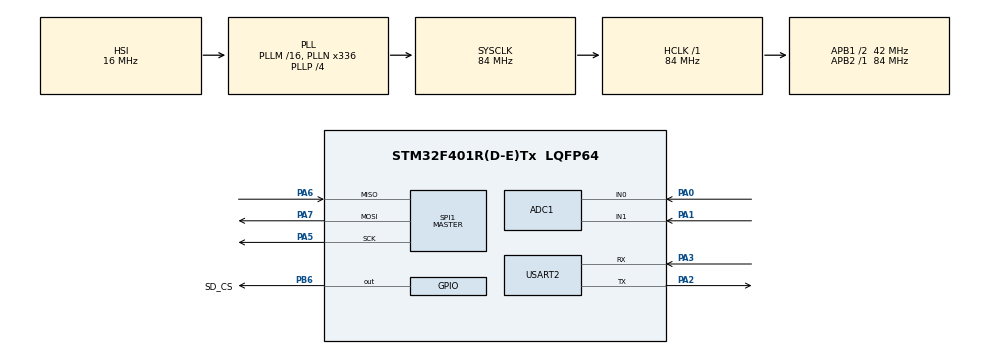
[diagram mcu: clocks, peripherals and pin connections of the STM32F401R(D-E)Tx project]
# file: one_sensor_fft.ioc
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ADC1.Channel-0\#ChannelRegularConversion=ADC_CHANNEL_0
ADC1.Channel-1\#ChannelRegularConversion=ADC_CHANNEL_1
ADC1.DMAContinuousRequests=ENABLE
ADC1.EOCSelection=ADC_EOC_SEQ_CONV
ADC1.ExternalTrigConv=ADC_EXTERNALTRIGCONV_T2_TRGO
ADC1.NbrOfConversion=2
ADC1.NbrOfConversionFlag=1
ADC1.Rank-0\#ChannelRegularConversion=1
ADC1.Rank-1\#ChannelRegularConversion=2
ADC1.SamplingTime-0\#ChannelRegularConversion=ADC_SAMPLETIME_28CYCLES
ADC1.SamplingTime-1\#ChannelRegularConversion=ADC_SAMPLETIME_28CYCLES
ADC1.master=1
Dma.ADC1.0.Direction=DMA_PERIPH_TO_MEMORY
Dma.ADC1.0.FIFOMode=DMA_FIFOMODE_DISABLE
Dma.ADC1.0.Instance=DMA2_Stream0
Dma.ADC1.0.MemDataAlignment=DMA_MDATAALIGN_WORD
Dma.ADC1.0.MemInc=DMA_MINC_ENABLE
Dma.ADC1.0.Mode=DMA_CIRCULAR
Dma.ADC1.0.PeriphDataAlignment=DMA_PDATAALIGN_WORD
Dma.ADC1.0.PeriphInc=DMA_PINC_DISABLE
Dma.ADC1.0.Priority=DMA_PRIORITY_LOW
Dma.Request0=ADC1
FATFS._FS_LOCK=4
FATFS._MAX_SS=4096
FATFS._USE_LFN=1
Mcu.Family=STM32F4
Mcu.Name=STM32F401R(D-E)Tx
Mcu.Package=LQFP64
NVIC.ADC_IRQn=true\:0\:0\:false\:false\:true\:true\:true\:true
NVIC.DMA2_Stream0_IRQn=true\:0\:0\:false\:false\:true\:false\:true\:true
NVIC.PriorityGroup=NVIC_PRIORITYGROUP_0
PA0-WKUP.Signal=ADCx_IN0
PA1.Signal=ADCx_IN1
PA13.Mode=Serial_Wire
PA13.Signal=SYS_JTMS-SWDIO
PA14.Mode=Serial_Wire
PA14.Signal=SYS_JTCK-SWCLK
PA2.Mode=Asynchronous
PA2.Signal=USART2_TX
PA3.Mode=Asynchronous
PA3.Signal=USART2_RX
PA5.Mode=Full_Duplex_Master
PA5.Signal=SPI1_SCK
PA6.Mode=Full_Duplex_Master
PA6.Signal=SPI1_MISO
PA7.Mode=Full_Duplex_Master
PA7.Signal=SPI1_MOSI
PB6.GPIO_Label=SD_CS
PB6.GPIO_Speed=GPIO_SPEED_FREQ_HIGH
PB6.PinState=GPIO_PIN_SET
PB6.Signal=GPIO_Output
PH0\ -\ OSC_IN.Mode=HSE-External-Oscillator
PH0\ -\ OSC_IN.Signal=RCC_OSC_IN
PH1\ -\ OSC_OUT.Mode=HSE-External-Oscillator
PH1\ -\ OSC_OUT.Signal=RCC_OSC_OUT
ProjectManager.HeapSize=0x200
ProjectManager.StackSize=0x400
ProjectManager.TargetToolchain=STM32CubeIDE
RCC.48MHZClocksFreq_Value=48000000
RCC.AHBFreq_Value=84000000
RCC.APB1CLKDivider=RCC_HCLK_DIV2
RCC.APB1Freq_Value=42000000
RCC.APB1TimFreq_Value=84000000
RCC.APB2Freq_Value=84000000
RCC.APB2TimFreq_Value=84000000
RCC.CortexFreq_Value=84000000
RCC.HCLKFreq_Value=84000000
RCC.HSE_VALUE=8000000
RCC.HSI_VALUE=16000000
RCC.LSE_VALUE=32768
RCC.PLLN=336
RCC.PLLP=RCC_PLLP_DIV4
RCC.PLLQ=7
RCC.SYSCLKFreq_VALUE=84000000
RCC.SYSCLKSource=RCC_SYSCLKSOURCE_PLLCLK
RCC.VCOOutputFreq_Value=336000000
SH.ADCx_IN0.0=ADC1_IN0,IN0
SH.ADCx_IN1.0=ADC1_IN1,IN1
SPI1.BaudRatePrescaler=SPI_BAUDRATEPRESCALER_16
SPI1.DataSize=SPI_DATASIZE_8BIT
SPI1.Direction=SPI_DIRECTION_2LINES
SPI1.Mode=SPI_MODE_MASTER
SPI1.VirtualType=VM_MASTER
TIM2.Period=100-1
TIM2.Prescaler=840-1
TIM2.TIM_MasterOutputTrigger=TIM_TRGO_UPDATE
USART2.VirtualMode=VM_ASYNC
VP_FATFS_VS_Generic.Mode=User_defined
VP_TIM2_VS_ClockSourceINT.Mode=Internal
board=NUCLEO-F401RE

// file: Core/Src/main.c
/* USER CODE BEGIN Header */
/**
  ******************************************************************************
  * @file           : main.c
  * @brief          : Main program body
  ******************************************************************************
  * @attention
  *
  * Copyright (c) 2024 STMicroelectronics.
  * All rights reserved.
  *
  * This software is licensed under terms that can be found in the LICENSE file
  * in the root directory of this software component.
  * If no LICENSE file comes with this software, it is provided AS-IS.
  *
  ******************************************************************************
  */
/* USER CODE END Header */
#include "main.h"
#include "fatfs.h"

/* USER CODE BEGIN Includes */
#include <string.h>
#include <stdio.h>
#include <stdarg.h>
#include "fatfs_sd.h"
#include "string.h"
#define ARM_MATH_CM4
#include "arm_math.h"
/* USER CODE END Includes */

/* USER CODE BEGIN PD */
#define SampleSize 65536
#define BufferSize 2048

/* USER CODE END PD */

ADC_HandleTypeDef hadc1;
DMA_HandleTypeDef hdma_adc1;

SPI_HandleTypeDef hspi1;

TIM_HandleTypeDef htim2;

UART_HandleTypeDef huart2;

/* USER CODE BEGIN PV */
#define ADC_VAL_SIZE 64
uint32_t adcVal[ADC_VAL_SIZE];
uint32_t adcFlush[ADC_VAL_SIZE];
double buffer[BufferSize];
unsigned long count=0;

FATFS fs;
FATFS *pfs;
FIL fil1,fil2;
FRESULT fresult;

int bufferIndex = 0;
char read_flag=0;

int fftbufferIndex = 0;
#define FFT_BUFFER_SIZE 2048
#define SAMPLING_RATE 500
arm_rfft_fast_instance_f32 fftHandler;
float32_t fftBuffIn[FFT_BUFFER_SIZE];
float32_t fftBuffOut[FFT_BUFFER_SIZE];
float32_t outputfft_mag_Adxl1[FFT_BUFFER_SIZE/2];
float32_t outputfft_mag_Adxl2[FFT_BUFFER_SIZE/2];
uint8_t fftFlag=0;
/* USER CODE END PV */

void SystemClock_Config(void);
static void MX_GPIO_Init(void);
static void MX_DMA_Init(void);
static void MX_ADC1_Init(void);
static void MX_SPI1_Init(void);
static void MX_TIM2_Init(void);
static void MX_USART2_UART_Init(void);

/* USER CODE BEGIN 0 */
void unlinkFile(const char *fileName) {
 FRESULT  fresult = f_unlink(fileName);
    if (fresult != FR_OK) {
    	send_uart("%s not found\r\n", fileName);
    }
}

double calculateAverage(const double *values, int size) {
    if (size <= 0) {
        return 0.0;  // Return 0 for an empty array or invalid size
    }
    double sum = 0.0;
    for (int i = 0; i < size; i++) {
        sum += values[i];
    }
    return sum / size;
}

void send_uart(const char *format, ...) {
    va_list args;
    va_start(args, format);
    char buffer[1024];
    int len = vsnprintf(buffer, sizeof(buffer), format, args);
    if (len >= 0) {
       HAL_UART_Transmit(&huart2, (uint8_t*)buffer, len, 200);
    }
    va_end(args);
}

void writeToFile(FIL* file1, FIL* file2, uint32_t* buffer, int size) {
    char fileBuffer1[1024];
    char fileBuffer2[1024];
    char intBuffer[6];

    int counter1 = 0;
    int counter2 = 0;

    char* fbPtr1 = &fileBuffer1[0];
    char* fbPtr2 = &fileBuffer2[0];

    memset(fileBuffer1, 0, 1024);
    memset(fileBuffer2, 0, 1024);
    memset(intBuffer, 0, 6);

    for (int i = 0; i < size; i += 2) {
        int c = snprintf(intBuffer, sizeof(intBuffer), "%d\n", (int)buffer[i]);

        if (counter1 + c > 1024) {
            f_puts(fileBuffer1, file1);
            counter1 = 0;
            memset(fileBuffer1, 0, 1024);
        }
        memcpy(&fileBuffer1[counter1], intBuffer, c);
        counter1 += c;
        fbPtr1+=c;

        c = snprintf(intBuffer, sizeof(intBuffer), "%d\n", (int)buffer[i + 1]);
        if (counter2 + c > 1024) {
            f_puts(fileBuffer2, file2);
            counter2 = 0;
            memset(fileBuffer2, 0, 1024);
        }
        memcpy(&fileBuffer2[counter2], intBuffer, c);
        counter2 += c;
        fbPtr2+=c;
    }

    if (counter1 > 0) {
        f_puts(fileBuffer1, file1);
    }

    if (counter2 > 0) {
        f_puts(fileBuffer2, file2);
    }
}

void HAL_ADC_ConvCpltCallback(ADC_HandleTypeDef* hadc)
 {
	read_flag = 1;
	memcpy(adcFlush,adcVal,ADC_VAL_SIZE*sizeof(uint32_t));
 }

void generate_resultant(const char *data_file1, const char *data_file2, const char *add_file) {
    FIL fil1, fil2, add_fil;
    FRESULT fresult;

    // Open the first data file for reading
    fresult = f_open(&fil1, data_file1, FA_OPEN_ALWAYS | FA_READ);
    if (fresult != FR_OK) {
        send_uart("Error opening ADXL1.\r\n");
        return;
    }

    // Open the second data file for reading
    fresult = f_open(&fil2, data_file2, FA_OPEN_ALWAYS | FA_READ);
    if (fresult != FR_OK) {
        send_uart("Error opening ADXL2.\r\n");
        f_close(&fil1);
        return;
    }

    // Open the difference file for writing
    fresult = f_open(&add_fil, add_file, FA_CREATE_ALWAYS | FA_WRITE);
    if (fresult != FR_OK) {
        send_uart("Error opening Resultant file for writing.\r\n");
        f_close(&fil1);
        f_close(&fil2);
        return;
    }

    char line1[50], line2[50];
    double mag1, mag2;

    while (f_gets(line1, sizeof(line1), &fil1) != NULL && f_gets(line2, sizeof(line2), &fil2) != NULL) {

        sscanf(line1, "%lf", &mag1);
        sscanf(line2, "%lf", &mag2);

        // Calculate and format sum of magnitudes
        double add_mag = sqrt(mag1*mag1 + mag2*mag2);

        char add_mag_str[20]; // Adjust size as needed to accommodate formatted output
        snprintf(add_mag_str, sizeof(add_mag_str), "%.2f\n", (double)add_mag); // Convert double to string with formatting
        f_puts(add_mag_str, &add_fil);
        if (fresult != FR_OK) {
            send_uart("Error writing to resultant.txt.\r\n");

        }
    }

    // Close all files
    f_close(&fil1);
    f_close(&fil2);
    f_close(&add_fil);
}
void processAndSaveData(const char *inputFileName, const char *outputFileName, double *buffer, int bufferSize, double *totalAverage) {
    FRESULT fresult;
    FIL inputFile, outputFile;
    char line[20];
    int bufferIndex = 0;
    int iterationCount = 0;

    fresult = f_open(&inputFile, inputFileName, FA_READ);
    if (fresult != FR_OK) {
        send_uart("Error opening input file for reading.\r\n");
        return;
    }

    fresult = f_open(&outputFile, outputFileName, FA_CREATE_ALWAYS | FA_WRITE);
    if (fresult != FR_OK) {
        send_uart("Error opening output file for writing.\r\n");
        f_close(&inputFile);
        return;
    }

    while (f_gets(line, sizeof(line), &inputFile) != NULL) {
        double currentSample;
        if (sscanf(line, "%lf", &currentSample) == 1) {
            buffer[bufferIndex] = currentSample;
            bufferIndex++;

            if (bufferIndex == bufferSize) {
                *totalAverage += calculateAverage(buffer, bufferSize);
                bufferIndex = 0;
                iterationCount=iterationCount+1;
            }
        }
    }

    *totalAverage /= iterationCount;

    f_lseek(&inputFile, 0);

    while (f_gets(line, sizeof(line), &inputFile) != NULL) {
        double value;
        if (sscanf(line, "%lf", &value) == 1) {
            double diff = value - *totalAverage;
            snprintf(buffer, bufferSize, "%.2f\n", diff);
            f_puts(buffer, &outputFile);
        }
    }

    f_close(&inputFile);
    f_close(&outputFile);
}
void fftResults(const char *data_file, const char *fft_file, float *outputfft_mag, float *fftBuffIn, float *fftBuffOut) {
    FIL fil1, fil2;
    FRESULT fresult;

    fresult = f_open(&fil1, data_file, FA_OPEN_ALWAYS | FA_READ);
    if (fresult != FR_OK) {
        send_uart("Error opening data file for reading.\r\n");
        return;
    }
    fresult = f_open(&fil2, fft_file, FA_OPEN_ALWAYS | FA_WRITE);
    if (fresult != FR_OK) {
        send_uart("Error opening fft file for writing.\r\n");
        return;
    }

    char line[20];
    int fftbufferIndex = 0;
    int dataCount = 0;

    while (f_gets(line, sizeof(line), &fil1) != NULL && dataCount < FFT_BUFFER_SIZE) {
        double currentfftSample;
        if (sscanf(line, "%lf", &currentfftSample) == 1) {
            fftBuffIn[fftbufferIndex] = currentfftSample;
            fftbufferIndex++;
            dataCount++;
            if (fftbufferIndex == FFT_BUFFER_SIZE) {
                arm_rfft_fast_f32(&fftHandler, fftBuffIn, fftBuffOut, 0);
                arm_cmplx_mag_f32(fftBuffOut, outputfft_mag, FFT_BUFFER_SIZE/2);

                char fftline[50];
                for (int i = 0; i < FFT_BUFFER_SIZE/2; i++) {
                    snprintf(fftline, sizeof(fftline), "frequency %.2f: %.2f\n", ((float32_t)(i*SAMPLING_RATE)/FFT_BUFFER_SIZE), outputfft_mag[i]);
                    f_puts(fftline, &fil2);
                }

                float peakVal = 0.0;
                int peakIndex = 0;
                for (int k = 0; k < FFT_BUFFER_SIZE/2; k++) {
                    float curVal = outputfft_mag[k];
                    if (curVal > peakVal) {
                        peakVal = curVal;
                        peakIndex = k;
                    }
                }
                float peakFrequency = (float32_t)(peakIndex * SAMPLING_RATE) / FFT_BUFFER_SIZE;
                send_uart("Peak Value: %.3f at Frequency: %.3f Hz\r\n", peakVal, peakFrequency);

                fftbufferIndex = 0;
            }
        }
    }

    // Close both files
    f_close(&fil1);
    f_close(&fil2);
}
/* USER CODE END 0 */

int main(void)
{

  /* MCU Configuration--------------------------------------------------------*/

  /* Reset of all peripherals, Initializes the Flash interface and the Systick. */
  HAL_Init();

  /* Configure the system clock */
  SystemClock_Config();

  /* Initialize all configured peripherals */
  MX_GPIO_Init();
  MX_DMA_Init();
  MX_ADC1_Init();
  MX_SPI1_Init();
  MX_TIM2_Init();
  MX_USART2_UART_Init();
  MX_FATFS_Init();
  /* USER CODE BEGIN 2 */
  HAL_ADC_Start_DMA(&hadc1, adcVal, ADC_VAL_SIZE);
  HAL_TIM_Base_Start(&htim2);
  arm_rfft_fast_init_f32(&fftHandler, FFT_BUFFER_SIZE);

    fresult = f_mount(&fs, "", 0);
    	  if (fresult != FR_OK) {
    		  send_uart("SD card MOUNT FAILED...\r\n");
    	  } else {
    		  send_uart("\n\rSD card MOUNTED...\r\n");

    		  unlinkFile("/ADXL1_DATA.txt");
    		  unlinkFile("/Resultant_AVG_DIFF.txt");
    		  unlinkFile("/ADXL2_DATA.txt");
    		  unlinkFile("/Resultant.txt");

    		  fresult = f_open(&fil1, "ADXL1_DATA.txt", FA_OPEN_ALWAYS | FA_READ | FA_WRITE);
    		  send_uart("ADXL1_DATA.txt created.\r\n");

    		  fresult = f_open(&fil2, "ADXL2_DATA.txt", FA_OPEN_ALWAYS | FA_READ | FA_WRITE);
    		  send_uart("ADXL2_DATA.txt created.\r\n");

  /* USER CODE END 2 */

  /* Infinite loop */
  /* USER CODE BEGIN WHILE */
  while (1)
  {
	  if (read_flag)
	 	  {
	 		  writeToFile(&fil1, &fil2, adcFlush, ADC_VAL_SIZE);
	 		  count+=ADC_VAL_SIZE;
	 		  read_flag = 0;
	 	  }
	 	  if (count >= SampleSize)
	 	  {
	 		  HAL_ADC_Stop_DMA(&hadc1);
	 		  HAL_TIM_Base_Stop(&htim2);
	 		  f_close(&fil1);
	 		  f_close(&fil2);
	 		  send_uart("Data acquisition complete!\r\n");
	 		  generate_resultant("ADXL1_DATA.txt", "ADXL2_DATA.txt", "Resultant.txt");
	 		  double totalAverage1 = 0.0;
	 		  processAndSaveData("Resultant.txt", "Resultant_AVG_DIFF.txt", buffer, BufferSize, &totalAverage1);
	 		  send_uart("FFT preparation complete!\r\n");
	 		  fftFlag=1;
	 	  }
	 	  if(fftFlag){
	 		 fftResults("Resultant_AVG_DIFF.txt", "Resultant_FFT.txt", outputfft_mag_Adxl1, fftBuffIn, fftBuffOut);
	 		 send_uart("Programme Complete!\r\n");
	 		 break;
	 	  }
  	  	  }
    	  }
    /* USER CODE END WHILE */

}

void SystemClock_Config(void)
{
  RCC_OscInitTypeDef RCC_OscInitStruct = {0};
  RCC_ClkInitTypeDef RCC_ClkInitStruct = {0};

  /** Configure the main internal regulator output voltage
  */
  __HAL_RCC_PWR_CLK_ENABLE();
  __HAL_PWR_VOLTAGESCALING_CONFIG(PWR_REGULATOR_VOLTAGE_SCALE2);

  /** Initializes the RCC Oscillators according to the specified parameters
  * in the RCC_OscInitTypeDef structure.
  */
  RCC_OscInitStruct.OscillatorType = RCC_OSCILLATORTYPE_HSI;
  RCC_OscInitStruct.HSIState = RCC_HSI_ON;
  RCC_OscInitStruct.HSICalibrationValue = RCC_HSICALIBRATION_DEFAULT;
  RCC_OscInitStruct.PLL.PLLState = RCC_PLL_ON;
  RCC_OscInitStruct.PLL.PLLSource = RCC_PLLSOURCE_HSI;
  RCC_OscInitStruct.PLL.PLLM = 16;
  RCC_OscInitStruct.PLL.PLLN = 336;
  RCC_OscInitStruct.PLL.PLLP = RCC_PLLP_DIV4;
  RCC_OscInitStruct.PLL.PLLQ = 7;
  if (HAL_RCC_OscConfig(&RCC_OscInitStruct) != HAL_OK)
  {
    Error_Handler();
  }

  /** Initializes the CPU, AHB and APB buses clocks
  */
  RCC_ClkInitStruct.ClockType = RCC_CLOCKTYPE_HCLK|RCC_CLOCKTYPE_SYSCLK
                              |RCC_CLOCKTYPE_PCLK1|RCC_CLOCKTYPE_PCLK2;
  RCC_ClkInitStruct.SYSCLKSource = RCC_SYSCLKSOURCE_PLLCLK;
  RCC_ClkInitStruct.AHBCLKDivider = RCC_SYSCLK_DIV1;
  RCC_ClkInitStruct.APB1CLKDivider = RCC_HCLK_DIV2;
  RCC_ClkInitStruct.APB2CLKDivider = RCC_HCLK_DIV1;

  if (HAL_RCC_ClockConfig(&RCC_ClkInitStruct, FLASH_LATENCY_2) != HAL_OK)
  {
    Error_Handler();
  }
}

static void MX_ADC1_Init(void)
{

  ADC_ChannelConfTypeDef sConfig = {0};

  /** Configure the global features of the ADC (Clock, Resolution, Data Alignment and number of conversion)
  */
  hadc1.Instance = ADC1;
  hadc1.Init.ClockPrescaler = ADC_CLOCK_SYNC_PCLK_DIV4;
  hadc1.Init.Resolution = ADC_RESOLUTION_12B;
  hadc1.Init.ScanConvMode = ENABLE;
  hadc1.Init.ContinuousConvMode = DISABLE;
  hadc1.Init.DiscontinuousConvMode = DISABLE;
  hadc1.Init.ExternalTrigConvEdge = ADC_EXTERNALTRIGCONVEDGE_RISING;
  hadc1.Init.ExternalTrigConv = ADC_EXTERNALTRIGCONV_T2_TRGO;
  hadc1.Init.DataAlign = ADC_DATAALIGN_RIGHT;
  hadc1.Init.NbrOfConversion = 2;
  hadc1.Init.DMAContinuousRequests = ENABLE;
  hadc1.Init.EOCSelection = ADC_EOC_SEQ_CONV;
  if (HAL_ADC_Init(&hadc1) != HAL_OK)
  {
    Error_Handler();
  }

  /** Configure for the selected ADC regular channel its corresponding rank in the sequencer and its sample time.
  */
  sConfig.Channel = ADC_CHANNEL_0;
  sConfig.Rank = 1;
  sConfig.SamplingTime = ADC_SAMPLETIME_28CYCLES;
  if (HAL_ADC_ConfigChannel(&hadc1, &sConfig) != HAL_OK)
  {
    Error_Handler();
  }

  /** Configure for the selected ADC regular channel its corresponding rank in the sequencer and its sample time.
  */
  sConfig.Channel = ADC_CHANNEL_1;
  sConfig.Rank = 2;
  if (HAL_ADC_ConfigChannel(&hadc1, &sConfig) != HAL_OK)
  {
    Error_Handler();
  }

}

static void MX_SPI1_Init(void)
{

  /* SPI1 parameter configuration*/
  hspi1.Instance = SPI1;
  hspi1.Init.Mode = SPI_MODE_MASTER;
  hspi1.Init.Direction = SPI_DIRECTION_2LINES;
  hspi1.Init.DataSize = SPI_DATASIZE_8BIT;
  hspi1.Init.CLKPolarity = SPI_POLARITY_LOW;
  hspi1.Init.CLKPhase = SPI_PHASE_1EDGE;
  hspi1.Init.NSS = SPI_NSS_SOFT;
  hspi1.Init.BaudRatePrescaler = SPI_BAUDRATEPRESCALER_16;
  hspi1.Init.FirstBit = SPI_FIRSTBIT_MSB;
  hspi1.Init.TIMode = SPI_TIMODE_DISABLE;
  hspi1.Init.CRCCalculation = SPI_CRCCALCULATION_DISABLE;
  hspi1.Init.CRCPolynomial = 10;
  if (HAL_SPI_Init(&hspi1) != HAL_OK)
  {
    Error_Handler();
  }

}

static void MX_TIM2_Init(void)
{

  TIM_ClockConfigTypeDef sClockSourceConfig = {0};
  TIM_MasterConfigTypeDef sMasterConfig = {0};

  htim2.Instance = TIM2;
  htim2.Init.Prescaler = 840-1;
  htim2.Init.CounterMode = TIM_COUNTERMODE_UP;
  htim2.Init.Period = 200-1;
  htim2.Init.ClockDivision = TIM_CLOCKDIVISION_DIV1;
  htim2.Init.AutoReloadPreload = TIM_AUTORELOAD_PRELOAD_DISABLE;
  if (HAL_TIM_Base_Init(&htim2) != HAL_OK)
  {
    Error_Handler();
  }
  sClockSourceConfig.ClockSource = TIM_CLOCKSOURCE_INTERNAL;
  if (HAL_TIM_ConfigClockSource(&htim2, &sClockSourceConfig) != HAL_OK)
  {
    Error_Handler();
  }
  sMasterConfig.MasterOutputTrigger = TIM_TRGO_UPDATE;
  sMasterConfig.MasterSlaveMode = TIM_MASTERSLAVEMODE_DISABLE;
  if (HAL_TIMEx_MasterConfigSynchronization(&htim2, &sMasterConfig) != HAL_OK)
  {
    Error_Handler();
  }

}

static void MX_USART2_UART_Init(void)
{

  huart2.Instance = USART2;
  huart2.Init.BaudRate = 115200;
  huart2.Init.WordLength = UART_WORDLENGTH_8B;
  huart2.Init.StopBits = UART_STOPBITS_1;
  huart2.Init.Parity = UART_PARITY_NONE;
  huart2.Init.Mode = UART_MODE_TX_RX;
  huart2.Init.HwFlowCtl = UART_HWCONTROL_NONE;
  huart2.Init.OverSampling = UART_OVERSAMPLING_16;
  if (HAL_UART_Init(&huart2) != HAL_OK)
  {
    Error_Handler();
  }

}

static void MX_DMA_Init(void)
{

  /* DMA controller clock enable */
  __HAL_RCC_DMA2_CLK_ENABLE();

  /* DMA interrupt init */
  /* DMA2_Stream0_IRQn interrupt configuration */
  HAL_NVIC_SetPriority(DMA2_Stream0_IRQn, 0, 0);
  HAL_NVIC_EnableIRQ(DMA2_Stream0_IRQn);

}

static void MX_GPIO_Init(void)
{
  GPIO_InitTypeDef GPIO_InitStruct = {0};

  /* GPIO Ports Clock Enable */
  __HAL_RCC_GPIOH_CLK_ENABLE();
  __HAL_RCC_GPIOA_CLK_ENABLE();
  __HAL_RCC_GPIOB_CLK_ENABLE();

  /*Configure GPIO pin Output Level */
  HAL_GPIO_WritePin(SD_CS_GPIO_Port, SD_CS_Pin, GPIO_PIN_SET);

  /*Configure GPIO pin : SD_CS_Pin */
  GPIO_InitStruct.Pin = SD_CS_Pin;
  GPIO_InitStruct.Mode = GPIO_MODE_OUTPUT_PP;
  GPIO_InitStruct.Pull = GPIO_NOPULL;
  GPIO_InitStruct.Speed = GPIO_SPEED_FREQ_HIGH;
  HAL_GPIO_Init(SD_CS_GPIO_Port, &GPIO_InitStruct);

}

void Error_Handler(void)
{
  __disable_irq();
  while (1)
  {
  }
}
